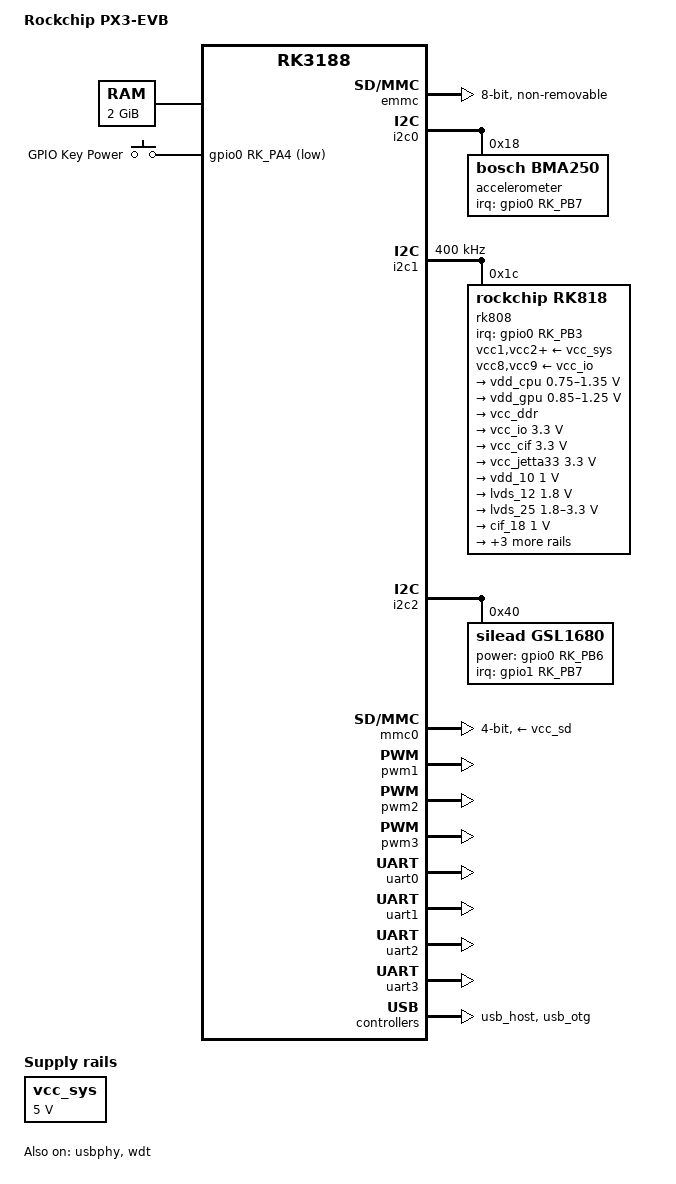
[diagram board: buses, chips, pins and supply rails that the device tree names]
// SPDX-License-Identifier: (GPL-2.0+ OR MIT)
/*
 * Copyright (c) 2016 Andy Yan <andy.yan@rock-chips.com>
 */

/dts-v1/;
#include <dt-bindings/input/input.h>
#include "rk3188.dtsi"

/ {
	model = "Rockchip PX3-EVB";
	compatible = "rockchip,px3-evb", "rockchip,px3", "rockchip,rk3188";

	chosen {
		stdout-path = "serial2:115200n8";
	};

	memory@60000000 {
		reg = <0x60000000 0x80000000>;
		device_type = "memory";
	};

	gpio-keys {
		compatible = "gpio-keys";
		autorepeat;

		power {
			gpios = <&gpio0 RK_PA4 GPIO_ACTIVE_LOW>;
			linux,code = <KEY_POWER>;
			label = "GPIO Key Power";
			linux,input-type = <1>;
			wakeup-source;
			debounce-interval = <100>;
		};
	};

	vcc_sys: vsys-regulator {
		compatible = "regulator-fixed";
		regulator-name = "vsys";
		regulator-min-microvolt = <5000000>;
		regulator-max-microvolt = <5000000>;
		regulator-boot-on;
	};
};

&cpu0 {
	cpu-supply = <&vdd_cpu>;
};

&cpu1 {
	cpu-supply = <&vdd_cpu>;
};

&cpu2 {
	cpu-supply = <&vdd_cpu>;
};

&cpu3 {
	cpu-supply = <&vdd_cpu>;
};

&emmc {
	bus-width = <8>;
	cap-mmc-highspeed;
	non-removable;
	pinctrl-names = "default";
	pinctrl-0 = <&emmc_clk>, <&emmc_cmd>, <&emmc_rst>;
	status = "okay";
};

&i2c0 {
	status = "okay";

	accelerometer@18 {
		compatible = "bosch,bma250";
		reg = <0x18>;
		interrupt-parent = <&gpio0>;
		interrupts = <RK_PB7 IRQ_TYPE_LEVEL_LOW>;
	};
};

&i2c1 {
	status = "okay";
	clock-frequency = <400000>;

	rk808: pmic@1c {
		compatible = "rockchip,rk818";
		reg = <0x1c>;
		interrupt-parent = <&gpio0>;
		interrupts = <RK_PB3 IRQ_TYPE_LEVEL_LOW>;
		rockchip,system-power-controller;
		wakeup-source;
		#clock-cells = <1>;
		clock-output-names = "xin32k", "rk808-clkout2";

		vcc1-supply = <&vcc_sys>;
		vcc2-supply = <&vcc_sys>;
		vcc3-supply = <&vcc_sys>;
		vcc4-supply = <&vcc_sys>;
		vcc6-supply = <&vcc_sys>;
		vcc7-supply = <&vcc_sys>;
		vcc8-supply = <&vcc_io>;
		vcc9-supply = <&vcc_io>;

		regulators {
			vdd_cpu: DCDC_REG1 {
				regulator-always-on;
				regulator-boot-on;
				regulator-min-microvolt = <750000>;
				regulator-max-microvolt = <1350000>;
				regulator-name = "vdd_arm";
				regulator-state-mem {
					regulator-off-in-suspend;
				};
			};

			vdd_gpu: DCDC_REG2 {
				regulator-always-on;
				regulator-boot-on;
				regulator-min-microvolt = <850000>;
				regulator-max-microvolt = <1250000>;
				regulator-name = "vdd_gpu";
				regulator-state-mem {
					regulator-on-in-suspend;
					regulator-suspend-microvolt = <1000000>;
				};
			};

			vcc_ddr: DCDC_REG3 {
				regulator-always-on;
				regulator-boot-on;
				regulator-name = "vcc_ddr";
				regulator-state-mem {
					regulator-on-in-suspend;
				};
			};

			vcc_io: DCDC_REG4 {
				regulator-always-on;
				regulator-boot-on;
				regulator-min-microvolt = <3300000>;
				regulator-max-microvolt = <3300000>;
				regulator-name = "vcc_io";
				regulator-state-mem {
					regulator-on-in-suspend;
					regulator-suspend-microvolt = <3300000>;
				};
			};

			vcc_cif: LDO_REG1 {
				 regulator-min-microvolt = <3300000>;
				 regulator-max-microvolt = <3300000>;
				 regulator-name = "vcc_cif";
			};

			vcc_jetta33: LDO_REG2 {
				regulator-always-on;
				regulator-boot-on;
				regulator-min-microvolt = <3300000>;
				regulator-max-microvolt = <3300000>;
				regulator-name = "vcc_jetta33";
			};

			vdd_10: LDO_REG3 {
				regulator-always-on;
				regulator-boot-on;
				regulator-min-microvolt = <1000000>;
				regulator-max-microvolt = <1000000>;
				regulator-name = "vdd_10";
				regulator-state-mem {
					regulator-on-in-suspend;
					regulator-suspend-microvolt = <1000000>;
				};
			};

			lvds_12: LDO_REG4 {
				regulator-min-microvolt = <1800000>;
				regulator-max-microvolt = <1800000>;
				regulator-name = "lvds_12";
			};

			lvds_25: LDO_REG5 {
				regulator-min-microvolt = <1800000>;
				regulator-max-microvolt = <3300000>;
				regulator-name = "lvds_25";
			};

			cif_18: LDO_REG6 {
				regulator-min-microvolt = <1000000>;
				regulator-max-microvolt = <1000000>;
				regulator-name = "cif_18";
			};

			vcc_sd: LDO_REG7 {
				regulator-min-microvolt = <1800000>;
				regulator-max-microvolt = <3300000>;
				regulator-name = "vcc_sd";
				regulator-state-mem {
					regulator-on-in-suspend;
					regulator-suspend-microvolt = <3300000>;
				};
			};

			wl_18: LDO_REG8 {
				regulator-min-microvolt = <1800000>;
				regulator-max-microvolt = <3300000>;
				regulator-name = "wl_18";
			};

			lcd_33: SWITCH_REG1 {
				regulator-name = "lcd_33";
			};
		};
	};

};

&i2c2 {
	gsl1680: touchscreen@40 {
		compatible = "silead,gsl1680";
		reg = <0x40>;
		interrupt-parent = <&gpio1>;
		interrupts = <RK_PB7 IRQ_TYPE_EDGE_FALLING>;
		power-gpios = <&gpio0 RK_PB6 GPIO_ACTIVE_HIGH>;
		touchscreen-size-x = <800>;
		touchscreen-size-y = <1280>;
		silead,max-fingers = <5>;
	};
};

&mmc0 {
	status = "okay";
	pinctrl-names = "default";
	pinctrl-0 = <&sd0_clk>, <&sd0_cmd>, <&sd0_cd>, <&sd0_bus4>;
	vmmc-supply = <&vcc_sd>;

	bus-width = <4>;
	cap-mmc-highspeed;
	cap-sd-highspeed;
	disable-wp;
};

&pinctrl {
	pcfg_output_low: pcfg-output-low {
		output-low;
	};

	usb {
		host_vbus_drv: host-vbus-drv {
			rockchip,pins = <0 RK_PA3 RK_FUNC_GPIO &pcfg_pull_none>;
		};
		otg_vbus_drv: otg-vbus-drv {
			rockchip,pins = <2 RK_PD7 RK_FUNC_GPIO &pcfg_pull_none>;
		};
	};
};

&pwm1 {
	status = "okay";
};

&pwm2 {
	status = "okay";
};

&pwm3 {
	status = "okay";
};

&uart0 {
	status = "okay";
};

&uart1 {
	status = "okay";
};

&uart2 {
	status = "okay";
};

&uart3 {
	status = "okay";
};

&usbphy {
	status = "okay";
};

&usb_host {
	status = "okay";
};

&usb_otg {
	status = "okay";
};

&wdt {
	status = "okay";
};
